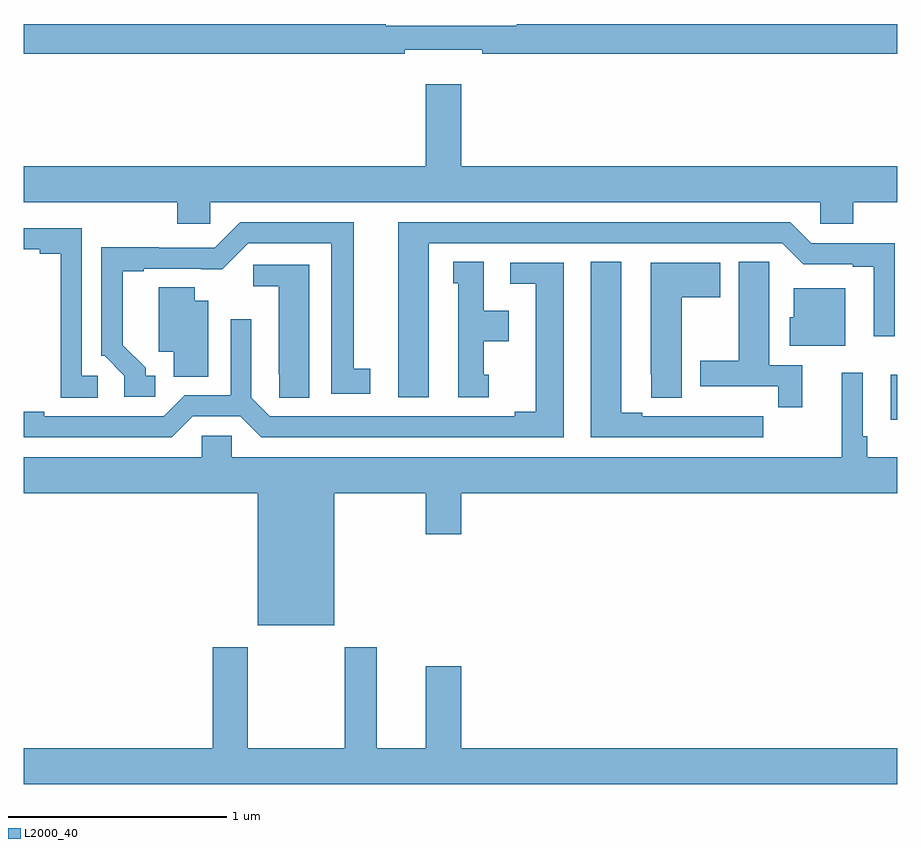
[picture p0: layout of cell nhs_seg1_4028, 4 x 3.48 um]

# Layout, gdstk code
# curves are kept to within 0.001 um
import gdstk
lib = gdstk.Library(unit=1e-6, precision=1e-09)
def R(c, l, rs):  # rectangles x0, y0, x1, y1
    for r in rs: c.add(gdstk.rectangle(r[:2], r[2:], *l))
def P(c, l, *ps):  # polygons
    for p in ps: c.add(gdstk.Polygon(p, *l))
L2000_40 = (2000, 40)

nhs_seg1_4028 = lib.new_cell('nhs_seg1_4028')
R(nhs_seg1_4028, L2000_40, [(334.97,516.104,335,516.31)])
P(nhs_seg1_4028, L2000_40, [(332.744,517.799),(333.1,517.799),(333.1,517.78),(335,517.78),(335,517.916),(333.257,517.916),(333.257,517.909),(332.657,517.909),(332.657,517.916),(331,517.916),(331,517.78),(332.744,517.78)],
  [(331.854,517.1),(334.647,517.1),(334.647,517.002),(334.799,517.002),(334.799,517.1),(335,517.1),(335,517.264),(333.004,517.264),(333.004,517.639),(332.84,517.639),(332.84,517.264),(331,517.264),(331,517.1),(331.703,517.1),(331.703,517.002),(331.854,517.002)],
  [(331.603,516.306),(331.558,516.306),(331.558,516.341),(331.453,516.446),(331.453,516.783),(331.549,516.783),(331.549,516.795),(331.91,516.794),(332.028,516.912),(332.408,516.912),(332.408,516.222),(332.587,516.222),(332.587,516.338),(332.512,516.338),(332.512,517.008),(331.992,517.008),(331.875,516.891),(331.619,516.891),(331.619,516.893),(331.356,516.893),(331.356,516.396),(331.371,516.396),(331.461,516.306),(331.461,516.21),(331.603,516.21)],
  [(332.854,516.912),(334.473,516.912),(334.569,516.816),(334.796,516.816),(334.796,516.804),(334.892,516.804),(334.892,516.486),(334.989,516.486),(334.989,516.912),(334.605,516.912),(334.509,517.008),(332.714,517.008),(332.714,516.207),(332.854,516.207)],
  [(331.339,516.306),(331.266,516.306),(331.266,516.981),(331,516.981),(331,516.885),(331.073,516.885),(331.073,516.865),(331.169,516.865),(331.169,516.205),(331.339,516.205)],
  [(334.387,516.12),(334.274,516.12),(334.274,516.121),(334.108,516.121),(334.108,516.12),(333.832,516.12),(333.832,516.135),(333.736,516.135),(333.736,516.827),(333.596,516.827),(333.596,516.024),(334.387,516.024)],
  [(333.13,516.309),(333.106,516.309),(333.106,516.464),(333.22,516.464),(333.22,516.604),(333.106,516.604),(333.106,516.827),(332.966,516.827),(332.966,516.729),(332.99,516.729),(332.99,516.207),(333.13,516.207)],
  [(334.565,516.354),(334.414,516.354),(334.414,516.716),(334.413,516.716),(334.413,516.827),(334.274,516.827),(334.274,516.375),(334.097,516.375),(334.097,516.258),(334.456,516.258),(334.456,516.162),(334.565,516.162)],
  [(334.012,516.664),(334.189,516.664),(334.189,516.823),(333.872,516.823),(333.872,516.313),(333.873,516.313),(333.873,516.205),(334.012,516.205)],
  [(331.773,516.12),(331.991,516.12),(332.087,516.024),(333.472,516.024),(333.472,516.822),(333.228,516.822),(333.228,516.726),(333.344,516.726),(333.344,516.14),(333.248,516.14),(333.248,516.12),(332.127,516.12),(332.043,516.204),(332.043,516.565),(331.947,516.565),(331.947,516.216),(331.737,516.216),(331.641,516.12),(331.093,516.12),(331.093,516.14),(331,516.14),(331,516.024),(331.677,516.024)],
  [(332.308,516.813),(332.052,516.813),(332.052,516.716),(332.168,516.716),(332.168,516.313),(332.169,516.313),(332.169,516.205),(332.308,516.205)],
  [(331.846,516.649),(331.783,516.649),(331.783,516.71),(331.619,516.71),(331.619,516.416),(331.688,516.416),(331.688,516.301),(331.846,516.301)],
  [(334.762,516.706),(334.526,516.706),(334.526,516.573),(334.508,516.573),(334.508,516.443),(334.762,516.443)],
  [(332.422,515.768),(332.84,515.768),(332.84,515.58),(333.004,515.58),(333.004,515.768),(335,515.768),(335,515.932),(334.862,515.932),(334.862,516.028),(334.842,516.028),(334.842,516.319),(334.745,516.319),(334.745,515.932),(331.953,515.932),(331.953,516.03),(331.815,516.03),(331.815,515.932),(331,515.932),(331,515.768),(332.072,515.768),(332.072,515.162),(332.422,515.162)],
  [(335,514.6),(333.004,514.6),(333.004,514.975),(332.84,514.975),(332.84,514.6),(332.617,514.6),(332.617,515.062),(332.47,515.062),(332.47,514.6),(332.025,514.6),(332.025,515.062),(331.865,515.062),(331.865,514.6),(331,514.6),(331,514.436),(335,514.436)])

lib.write_gds('nhs_seg1_4028.gds')
